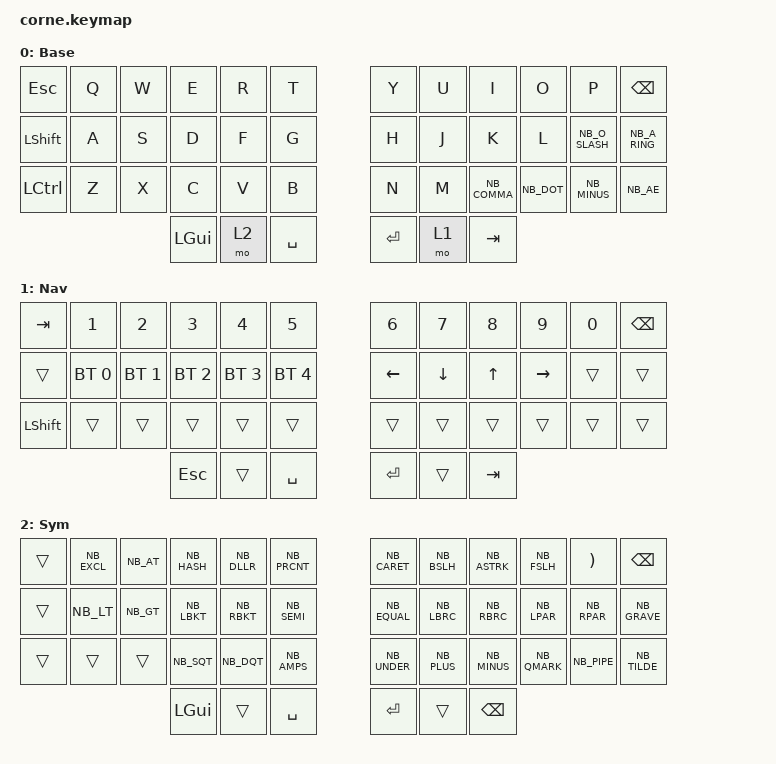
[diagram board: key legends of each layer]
/*
 * Copyright (c) 2020 The ZMK Contributors
 *
 * SPDX-License-Identifier: MIT
 */

#include <behaviors.dtsi>
#include <dt-bindings/zmk/keys.h>
#include <dt-bindings/zmk/bt.h>

#include "keys_nb.h"

/ {
        keymap {
                compatible = "zmk,keymap";

                default_layer {
                        display-name = "Base";
// -----------------------------------------------------------------------------------------
// |  TAB |  Q  |  W  |  E  |  R  |  T  |   |  Y  |  U   |  I  |  O  |  P  | BSPC |
// | CTRL |  A  |  S  |  D  |  F  |  G  |   |  H  |  J   |  K  |  L  |  ;  |  '   |
// | SHFT |  Z  |  X  |  C  |  V  |  B  |   |  N  |  M   |  ,  |  .  |  /  | ESC  |
//                    | GUI | LWR | SPC |   | ENT | RSE  | ALT |
                        bindings = <
   &kp ESC   &kp Q &kp W &kp E &kp R &kp T   &kp Y &kp U  &kp I     &kp O   &kp P    &kp BSPC
   &kp LSHFT &kp A &kp S &kp D &kp F &kp G   &kp H &kp J  &kp K     &kp L   &kp NB_O_SLASH &kp NB_A_RING
   &kp LCTRL &kp Z &kp X &kp C &kp V &kp B   &kp N &kp M  &kp NB_COMMA &kp NB_DOT &kp NB_MINUS &kp NB_AE
                  &kp LGUI &mo 2 &kp SPACE   &kp RET &mo 1 &kp TAB
                        >;
                };
                lower_layer {
                        display-name = "Nav";
// -----------------------------------------------------------------------------------------
// |  TAB |  1  |  2  |  3  |  4  |  5  |   |  6  |  7  |  8  |  9  |  0  | BSPC |
// | BTCLR| BT1 | BT2 | BT3 | BT4 | BT5 |   | LFT | DWN |  UP | RGT |     |      |
// | SHFT |     |     |     |     |     |   |     |     |     |     |     |      |
//                    | GUI |     | SPC |   | ENT |     | ALT |
                        bindings = <
   &kp TAB    &kp N1       &kp N2       &kp N3       &kp N4       &kp N5         &kp N6   &kp N7   &kp N8 &kp N9    &kp N0 &kp BSPC
   &trans &bt BT_SEL 0 &bt BT_SEL 1 &bt BT_SEL 2 &bt BT_SEL 3 &bt BT_SEL 4   &kp LEFT &kp DOWN &kp UP &kp RIGHT &trans &trans
   &kp LSHFT  &trans       &trans       &trans       &trans       &trans         &trans   &trans   &trans &trans    &trans &trans
                                    &kp ESC     &trans       &kp SPACE      &kp RET  &trans   &kp TAB
                        >;
                };

                raise_layer {
                        display-name = "Sym";
// -----------------------------------------------------------------------------------------
// |  TAB |  !  |  @  |  #  |  $  |  %  |   |  ^  |  &  |  *  |  (  |  )  | BSPC |
// | CTRL |     |     |     |     |     |   |  -  |  =  |  [  |  ]  |  \  |  `   |
// | SHFT |     |     |     |     |     |   |  _  |  +  |  {  |  }  | "|" |  ~   |
//                    | GUI |     | SPC |   | ENT |     | ALT |
                        bindings = <
   &trans  &kp NB_EXCL &kp NB_AT &kp NB_HASH &kp NB_DLLR &kp NB_PRCNT   &kp NB_CARET &kp NB_BSLH  &kp NB_ASTRK &kp NB_FSLH &kp RPAR &kp BSPC
   &trans &kp NB_LT   &kp NB_GT &kp NB_LBKT   &kp NB_RBKT   &kp NB_SEMI      &kp NB_EQUAL &kp NB_LBRC &kp NB_RBRC  &kp NB_LPAR &kp NB_RPAR &kp NB_GRAVE
   &trans &trans   &trans &kp NB_SQT   &kp NB_DQT   &kp NB_AMPS      &kp NB_UNDER &kp NB_PLUS  &kp NB_MINUS  &kp NB_QMARK &kp NB_PIPE &kp NB_TILDE
                             &kp LGUI &trans   &kp SPACE   &kp RET   &trans    &kp BSPC
                        >;
                };
        };
};
